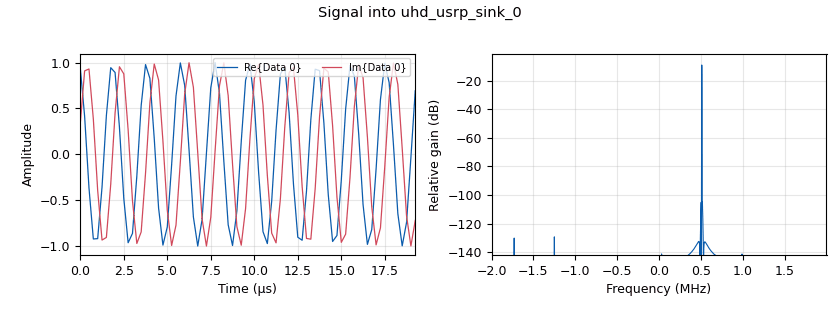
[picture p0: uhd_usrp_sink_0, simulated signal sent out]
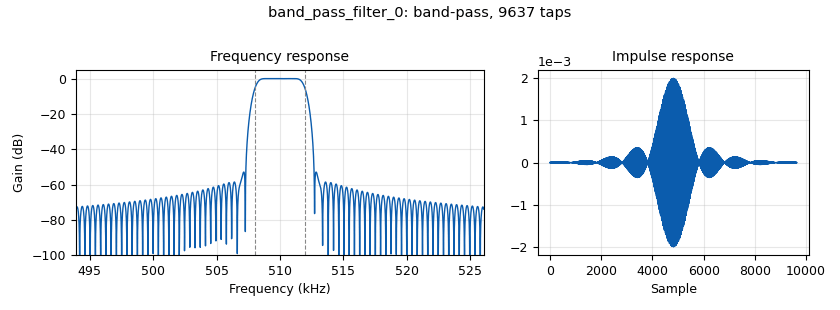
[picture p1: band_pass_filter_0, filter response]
<?xml version='1.0' encoding='utf-8'?>
<?grc format='1' created='3.7.12'?>
<flow_graph>
<block>
<key>options</key>
<param><key>id</key><value>top_block</value></param>
<param><key>generate_options</key><value>qt_gui</value></param>
<param><key>run_options</key><value>run</value></param>
</block>
<block>
<key>variable</key>
<param><key>id</key><value>center_freq</value></param>
<param><key>value</key><value>0</value></param>
</block>
<block>
<key>variable</key>
<param><key>id</key><value>fs</value></param>
<param><key>value</key><value>4000000</value></param>
</block>
<block>
<key>variable_qtgui_range</key>
<param><key>id</key><value>trans_width</value></param>
<param><key>value</key><value>5000</value></param>
<param><key>_enabled</key><value>0</value></param>
<param><key>orient</key><value>Qt.Horizontal</value></param>
<param><key>start</key><value>0</value></param>
<param><key>step</key><value>1</value></param>
<param><key>stop</key><value>100000</value></param>
</block>
<block>
<key>variable</key>
<param><key>id</key><value>trans_width</value></param>
<param><key>value</key><value>1000</value></param>
</block>
<block>
<key>variable_qtgui_range</key>
<param><key>id</key><value>tx_freq</value></param>
<param><key>value</key><value>510e3</value></param>
<param><key>_enabled</key><value>0</value></param>
<param><key>label</key><value>TX Freq</value></param>
<param><key>orient</key><value>Qt.Horizontal</value></param>
<param><key>start</key><value>0</value></param>
<param><key>step</key><value>1e3</value></param>
<param><key>stop</key><value>1e6</value></param>
</block>
<block>
<key>variable</key>
<param><key>id</key><value>tx_freq</value></param>
<param><key>value</key><value>510e3</value></param>
</block>
<block>
<key>analog_sig_source_x</key>
<param><key>id</key><value>analog_sig_source_x_0</value></param>
<param><key>amp</key><value>1</value></param>
<param><key>freq</key><value>tx_freq</value></param>
<param><key>offset</key><value>0</value></param>
<param><key>type</key><value>complex</value></param>
<param><key>samp_rate</key><value>fs</value></param>
<param><key>waveform</key><value>analog.GR_COS_WAVE</value></param>
</block>
<block>
<key>band_pass_filter</key>
<param><key>id</key><value>band_pass_filter_0</value></param>
<param><key>decim</key><value>1</value></param>
<param><key>type</key><value>fir_filter_ccf</value></param>
<param><key>gain</key><value>1</value></param>
<param><key>high_cutoff_freq</key><value>tx_freq+2*trans_width</value></param>
<param><key>low_cutoff_freq</key><value>tx_freq-2*trans_width</value></param>
<param><key>samp_rate</key><value>fs</value></param>
<param><key>width</key><value>trans_width</value></param>
<param><key>win</key><value>firdes.WIN_HAMMING</value></param>
</block>
<block>
<key>band_pass_filter</key>
<param><key>id</key><value>band_pass_filter_0_0</value></param>
<param><key>decim</key><value>1</value></param>
<param><key>type</key><value>fir_filter_fff</value></param>
<param><key>gain</key><value>1</value></param>
<param><key>high_cutoff_freq</key><value>tx_freq+2*trans_width</value></param>
<param><key>low_cutoff_freq</key><value>tx_freq-2*trans_width</value></param>
<param><key>samp_rate</key><value>fs</value></param>
<param><key>width</key><value>trans_width</value></param>
<param><key>win</key><value>firdes.WIN_HAMMING</value></param>
</block>
<block>
<key>blocks_complex_to_float</key>
<param><key>id</key><value>blocks_complex_to_float_0</value></param>
</block>
<block>
<key>blocks_head</key>
<param><key>id</key><value>blocks_head_0</value></param>
<param><key>_enabled</key><value>0</value></param>
<param><key>num_items</key><value>fs/2</value></param>
<param><key>type</key><value>complex</value></param>
</block>
<block>
<key>blocks_multiply_xx</key>
<param><key>id</key><value>blocks_multiply_xx_0</value></param>
<param><key>type</key><value>float</value></param>
</block>
<block>
<key>correctiq_correctiq</key>
<param><key>id</key><value>correctiq_correctiq_0</value></param>
</block>
<block>
<key>dc_blocker_xx</key>
<param><key>id</key><value>dc_blocker_xx_0</value></param>
<param><key>length</key><value>32</value></param>
<param><key>long_form</key><value>True</value></param>
<param><key>type</key><value>cc</value></param>
</block>
<block>
<key>blocks_file_sink</key>
<param><key>id</key><value>output_file_sink</value></param>
<param><key>_enabled</key><value>0</value></param>
<param><key>file</key><value>/home/nsbruce/Documents/UViip/MATLAB/Phase-locking/Binaries/rx_data_complex_latest</value></param>
<param><key>type</key><value>complex</value></param>
</block>
<block>
<key>qtgui_sink_x</key>
<param><key>id</key><value>qtgui_sink_x_0</value></param>
<param><key>bw</key><value>fs</value></param>
<param><key>fc</key><value>center_freq</value></param>
<param><key>freqchangevar</key><value>None</value></param>
<param><key>fftsize</key><value>1024</value></param>
<param><key>name</key><value>"Band Pass Filter"</value></param>
<param><key>showports</key><value>True</value></param>
<param><key>type</key><value>complex</value></param>
<param><key>wintype</key><value>firdes.WIN_BLACKMAN_hARRIS</value></param>
</block>
<block>
<key>qtgui_time_sink_x</key>
<param><key>id</key><value>qtgui_time_sink_x_0</value></param>
<param><key>color1</key><value>"blue"</value></param>
<param><key>label1</key><value></value></param>
<param><key>size</key><value>1024</value></param>
<param><key>srate</key><value>fs</value></param>
<param><key>type</key><value>float</value></param>
</block>
<block>
<key>uhd_usrp_sink</key>
<param><key>id</key><value>uhd_usrp_sink_0</value></param>
<param><key>ant0</key><value></value></param>
<param><key>center_freq0</key><value>0</value></param>
<param><key>norm_gain0</key><value>False</value></param>
<param><key>gain0</key><value>0</value></param>
<param><key>clock_rate</key><value>0.0</value></param>
<param><key>dev_addr</key><value>addr=192.168.10.2</value></param>
<param><key>dev_args</key><value>""</value></param>
<param><key>type</key><value>fc32</value></param>
<param><key>samp_rate</key><value>fs</value></param>
<param><key>hide_cmd_port</key><value>False</value></param>
<param><key>hide_lo_controls</key><value>True</value></param>
<param><key>sync</key><value></value></param>
<param><key>len_tag_name</key><value></value></param>
</block>
<block>
<key>uhd_usrp_source</key>
<param><key>id</key><value>uhd_usrp_source_0</value></param>
<param><key>ant0</key><value></value></param>
<param><key>center_freq0</key><value>center_freq</value></param>
<param><key>dc_offs_enb0</key><value>""</value></param>
<param><key>iq_imbal_enb0</key><value>""</value></param>
<param><key>norm_gain0</key><value>False</value></param>
<param><key>gain0</key><value>0</value></param>
<param><key>clock_rate</key><value>0.0</value></param>
<param><key>dev_addr</key><value>addr=192.168.10.3</value></param>
<param><key>dev_args</key><value>""</value></param>
<param><key>sd_spec0</key><value>"A:AB"</value></param>
<param><key>type</key><value>fc32</value></param>
<param><key>samp_rate</key><value>fs</value></param>
<param><key>hide_cmd_port</key><value>False</value></param>
<param><key>hide_lo_controls</key><value>True</value></param>
<param><key>sync</key><value></value></param>
</block>
<connection><source_block_id>analog_sig_source_x_0</source_block_id><sink_block_id>uhd_usrp_sink_0</sink_block_id><source_key>0</source_key><sink_key>0</sink_key></connection>
<connection><source_block_id>band_pass_filter_0</source_block_id><sink_block_id>blocks_complex_to_float_0</sink_block_id><source_key>0</source_key><sink_key>0</sink_key></connection>
<connection><source_block_id>band_pass_filter_0</source_block_id><sink_block_id>blocks_head_0</sink_block_id><source_key>0</source_key><sink_key>0</sink_key></connection>
<connection><source_block_id>band_pass_filter_0</source_block_id><sink_block_id>qtgui_sink_x_0</sink_block_id><source_key>0</source_key><sink_key>0</sink_key></connection>
<connection><source_block_id>band_pass_filter_0_0</source_block_id><sink_block_id>qtgui_time_sink_x_0</sink_block_id><source_key>0</source_key><sink_key>0</sink_key></connection>
<connection><source_block_id>blocks_complex_to_float_0</source_block_id><sink_block_id>blocks_multiply_xx_0</sink_block_id><source_key>1</source_key><sink_key>1</sink_key></connection>
<connection><source_block_id>blocks_complex_to_float_0</source_block_id><sink_block_id>blocks_multiply_xx_0</sink_block_id><source_key>0</source_key><sink_key>0</sink_key></connection>
<connection><source_block_id>blocks_head_0</source_block_id><sink_block_id>output_file_sink</sink_block_id><source_key>0</source_key><sink_key>0</sink_key></connection>
<connection><source_block_id>blocks_multiply_xx_0</source_block_id><sink_block_id>band_pass_filter_0_0</sink_block_id><source_key>0</source_key><sink_key>0</sink_key></connection>
<connection><source_block_id>correctiq_correctiq_0</source_block_id><sink_block_id>dc_blocker_xx_0</sink_block_id><source_key>0</source_key><sink_key>0</sink_key></connection>
<connection><source_block_id>dc_blocker_xx_0</source_block_id><sink_block_id>band_pass_filter_0</sink_block_id><source_key>0</source_key><sink_key>0</sink_key></connection>
<connection><source_block_id>uhd_usrp_source_0</source_block_id><sink_block_id>correctiq_correctiq_0</sink_block_id><source_key>0</source_key><sink_key>0</sink_key></connection>
</flow_graph>
